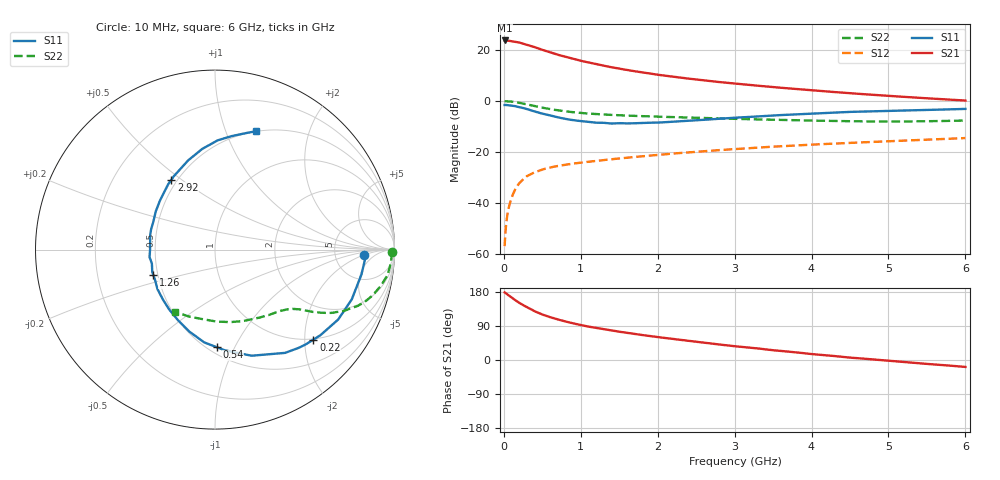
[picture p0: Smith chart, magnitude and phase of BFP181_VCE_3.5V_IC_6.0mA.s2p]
! Infineon Technologies  Discrete & RF Semiconductors
! BFP181
! VCE = 3.5 V,  IC =  6.0 mA
! Common Emitter S-Parameters:  Jan 2016
# GHz  S  MA  R  50
!  f  S11  S21  S12  S22
! GHz  MAG  ANG  MAG  ANG  MAG  ANG  MAG  ANG
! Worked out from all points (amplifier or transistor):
!   210 points, 10 MHz to 6 GHz, reference 50 ohm
!   highest |S21| = 23.8 dB at 10 MHz (marker M1)
!   |S21| within 3 dB of that: start of sweep to 435.4 MHz
!   unconditionally stable (mu >= 1): 1.569 GHz to end of sweep
!   at 185 MHz: K = 0.19, MSG = 28.0 dB, |S12| = -33.0 dB
!   at 1.52 GHz: K = 0.98, MSG = 17.6 dB, |S12| = -22.5 dB
!   at 6 GHz: K = 1.04, MAG = 6.2 dB, |S12| = -14.6 dB
!   S11 on the Smith chart (normalised r, x): 10 MHz: 11, -2; 220 MHz: 0.98, -2.20; 540 MHz: 0.55, -0.85; 1.26 GHz: 0.47, -0.16; 2.92 GHz: 0.47, +0.46; 6 GHz: 0.50, +1.28
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0.01  0.8323 -2.1  15.43 178.3  0.0014 79.8  0.9887 -0.8
0.05  0.8276 -9.7  15.34 172.4  0.0064 88.7  0.983 -4.3
0.145  0.7904 -28.6  14.55 158.4  0.0179 73.8  0.9491 -11.8
0.2  0.7565 -39.1  14.07 150.9  0.0241 70.8  0.9187 -15.7
0.22  0.743 -42.5  13.75 148.5  0.0259 68.6  0.9061 -17.0
0.26  0.7202 -49.3  13.19 143.6  0.0295 65.2  0.8816 -19.4
0.3  0.6956 -55.8  12.7 139.5  0.0333 62.8  0.8565 -21.4
0.4  0.6253 -71.0  11.42 128.6  0.0396 56.8  0.7934 -25.6
0.5  0.5638 -84.4  10.1 120.0  0.0449 52.1  0.7366 -28.6
0.54  0.5436 -89.0  9.678 117.4  0.0466 51.0  0.7184 -29.4
0.6  0.5206 -96.6  9.085 113.1  0.0492 49.5  0.6914 -30.6
0.74  0.4634 -111.2  7.801 104.9  0.0539 46.6  0.6432 -32.6
0.9  0.4201 -127.4  6.739 96.7  0.0587 44.7  0.6005 -34.2
1.02  0.3986 -138.0  6.056 91.5  0.0617 43.8  0.5775 -35.2
1.26  0.3717 -157.4  5.041 82.7  0.0677 42.6  0.5448 -37.3
1.5  0.3671 -173.5  4.315 74.6  0.0742 42.1  0.5227 -39.5
2.02  0.3764 156.3  3.243 60.0  0.0874 40.5  0.4898 -45.3
2.92  0.4591 121.9  2.258 38.3  0.1112 36.5  0.4483 -58.2
3.1  0.4764 116.7  2.128 34.5  0.1158 35.4  0.4405 -61.2
4.1  0.5732 95.4  1.579 14.0  0.1407 29.2  0.4089 -80.5
5.1  0.6433 80.7  1.23 -3.6  0.1639 23.0  0.3939 -102.6
6  0.6972 71.0  1.018 -18.3  0.1864 16.6  0.4122 -123.0
